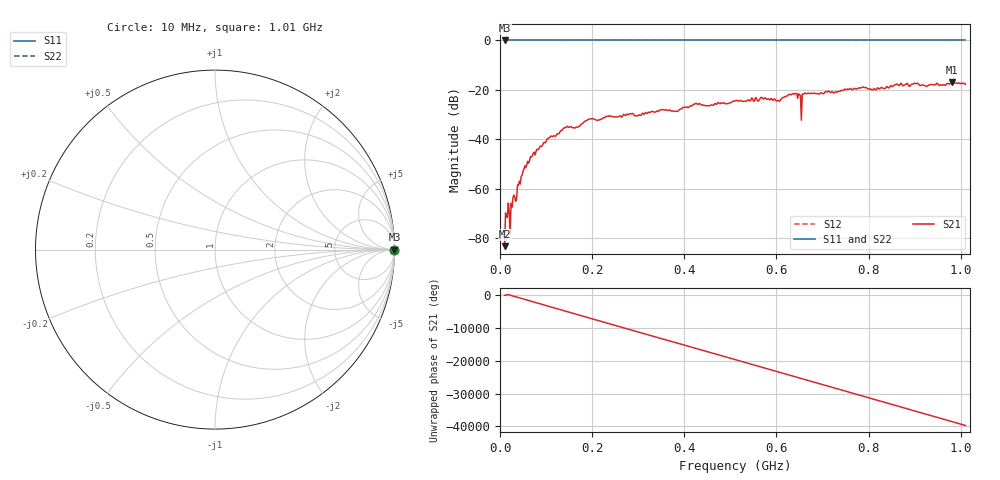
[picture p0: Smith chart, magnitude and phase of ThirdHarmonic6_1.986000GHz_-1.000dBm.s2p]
! 8/16/2025 11:52:43 PM
! C:\ANRITSUVNA\TEMP\TEMP.S2P
! CHANNEL.1
! TR.MEASUREMENT
! RAW.DATA
! RF.CORRECTION.OFF
! AVERAGING.OFF
! IF.BANDWIDTH: 5KHZ
! SWEEPTYPE:  FREQ.SWEEP(Linear)
! Reference Plane Port Info
! PORT:  PORT1  PORT2
! DISTANCE:  0  m  0  m
! TIME:  0  s  0  s
! PHASE.OFFSET:  0  deg.  0  deg.
! LOSS:  0  dB  0  dB
! REF.LOSS:  0  dB  0  dB
! REF.FREQ:  0  Hz  0  Hz
! Power Info
! POWER:  -20  dBm  -20  dBm
! EFF.POWER:  -20  dBm  -20  dBm
! SOURCE.ATTEN:  0  dB  0  dB
! TEST.ATTEN:  0  dB  0  dB
# GHZ S RI R 50.0
! FREQ.GHZ  S11RE  S11IM  S21RE  S21IM  S12RE  S12IM  S22RE  S22IM
!; PortSelection: Port_12
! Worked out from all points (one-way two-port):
!   501 points, 10 MHz to 1.01 GHz, reference 50 ohm
!   highest |S21| = -16.96 dB at 980 MHz (marker M1); lowest = -83.2 dB at 10 MHz (marker M2)
!   lowest |S11| = 0.0 dB at 10 MHz (marker M3)
!   |S11| at or under -10 dB: nowhere
!   |S22| runs from 0.0 to 0.0 dB; largest |S21 - S12| = 1.1
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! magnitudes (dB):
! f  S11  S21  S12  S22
! 10 MHz  0.0  -83.2  0.0  0.0
! 16 MHz  0.0  -71.5  0.0  0.0
! 18 MHz  0.0  -65.8  0.0  0.0
! 24 MHz  0.0  -65.9  0.0  0.0
! 28 MHz  0.0  -63.7  0.0  0.0
! 36 MHz  0.0  -64.1  0.0  0.0
! 50 MHz  0.0  -52.8  0.0  0.0
! 70 MHz  0.0  -46.7  0.0  0.0
! 142 MHz  0.0  -35.3  0.0  0.0
! 178 MHz  0.0  -33.7  0.0  0.0
! 344 MHz  0.0  -28.7  0.0  0.0
! 510 MHz  0.0  -24.5  0.0  0.0
! 604 MHz  0.0  -24.3  0.0  0.0
! 640 MHz  0.0  -21.6  0.0  0.0
! 648 MHz  0.0  -21.6  0.0  0.0
! 650 MHz  0.0  -22.0  0.0  0.0
! 658 MHz  0.0  -21.8  0.0  0.0
! 660 MHz  0.0  -21.5  0.0  0.0
! 678 MHz  0.0  -21.5  0.0  0.0
! 844 MHz  0.0  -19.3  0.0  0.0
! 980 MHz  0.0  -17.0  0.0  0.0
! 1.01 GHz  0.0  -17.8  0.0  0.0
